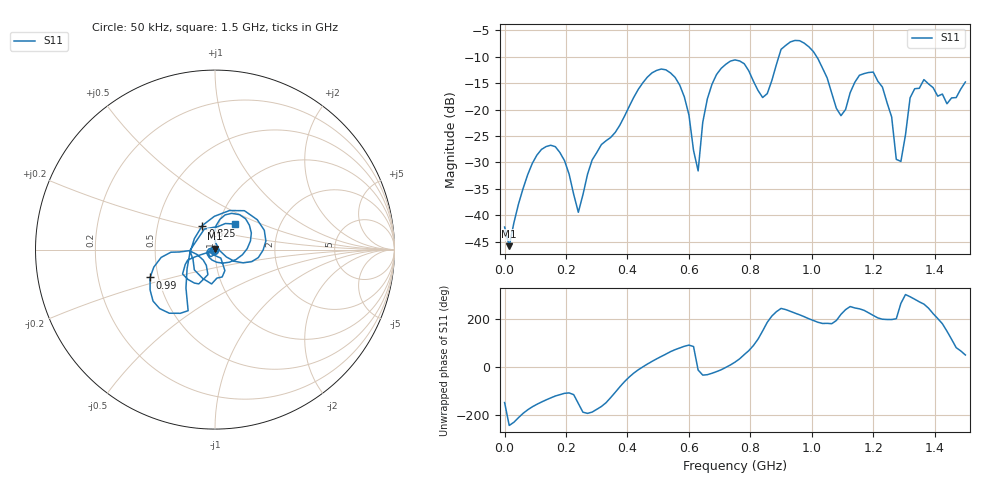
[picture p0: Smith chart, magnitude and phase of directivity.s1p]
! Created with skrf 1.8.0 (http://scikit-rf.org).
# Hz S RI R 50.0
!freq ReS11 ImS11
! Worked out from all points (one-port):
!   101 points, 50 kHz to 1.5 GHz, reference 50 ohm
!   lowest |S11| = -45.8 dB at 15.05 MHz (marker M1), VSWR 1.01, Z = 49.8 + j0.456 ohm
!   |S11| at or under -10 dB: start of sweep to 892.6 MHz; 1.016 GHz to end of sweep
!   S11 on the Smith chart (normalised r, x): 50 kHz: 0.99, -0.01; 825 MHz: 0.84, +0.23; 990 MHz: 0.45, -0.17; 1.5 GHz: 1.20, +0.35
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50000  -0.00657 -0.00414
1.50495e7  -0.00228 0.00458
1.050465e8  -0.0336 -0.0156
1.950435e8  -0.0108 -0.0311
2.40042e8  -0.00941 -0.00509
2.850405e8  -0.0331 0.00438
3.750375e8  0.00974 -0.0705
4.80034e8  0.2025 0.0928
5.70031e8  0.0273 0.1686
6.30029e8  0.0258 -0.00528
6.450285e8  0.0636 -0.0411
6.750275e8  0.157 -0.0737
7.50025e8  0.2747 0.1077
8.250225e8  -0.0705 0.1342
8.550215e8  -0.1402 -0.0201
9.0002e8  -0.1497 -0.3403
9.450185e8  -0.3085 -0.3286
9.90017e8  -0.3618 -0.1552
1.095014e9  -0.0656 -0.0582
1.125012e9  -0.0395 -0.1393
1.20001e9  -0.1808 -0.136
1.230009e9  -0.1522 -0.0585
1.275008e9  -0.0312 -0.0132
1.290007e9  -0.00146 -0.0323
1.320006e9  0.0551 -0.1169
1.365004e9  -0.0189 -0.1913
1.425002e9  -0.1402 -0.00577
1.5e9  0.114 0.1424
